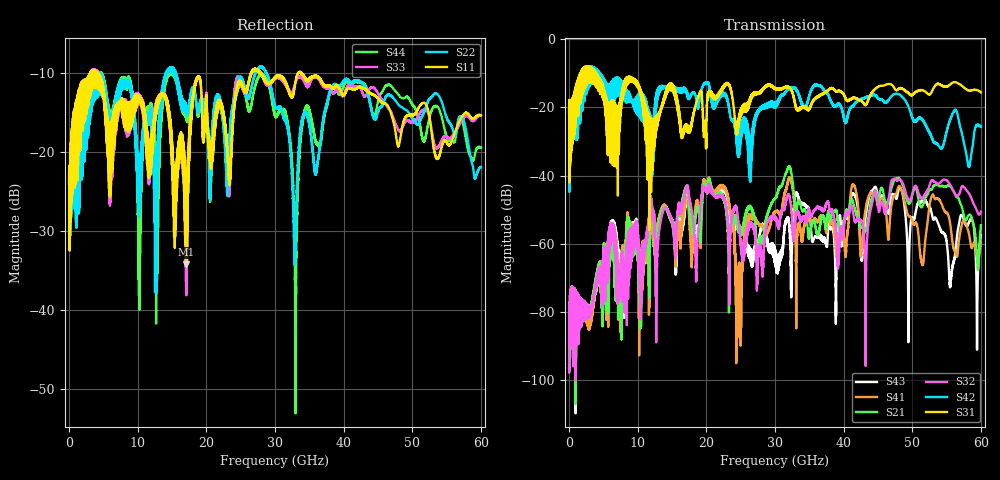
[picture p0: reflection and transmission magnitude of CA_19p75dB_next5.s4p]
!4 port subset of full cascaded channels using these ports:61 37 62 38
# Hz S RI R 50
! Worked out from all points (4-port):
!   6000 points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, 10 MHz to 60 GHz, reference 50 ohm
!   strongest paths, dB at 10 MHz, 15.01 GHz, 30.01 GHz, 45.01 GHz, 60 GHz:
!     S31: -21.8, -13.6, -14.3, -14.0, -15.6
!     S42: -21.9, -14.4, -18.7, -17.3, -25.7
!     S32: -96.7, -52.9, -52.9, -48.8, -50.6
!     S21: -96.5, -53.5, -46.6, -48.0, -54.6
!     S41: -96.3, -53.3, -50.7, -48.9, -59.4
!     S43: -96.5, -52.8, -63.7, -46.3, -57.5
!   lowest |S11| = -34.2 dB at 17.09 GHz (marker M1), VSWR 1.04, Z = 50.7 - j1.82 ohm
!   |S11| at or under -10 dB: 4.198 GHz to 26.51 GHz (22.31 GHz wide, 145 % of centre); 27.96 GHz to 33.36 GHz (5.395 GHz wide, 17.6 % of centre); 33.93 GHz to end of sweep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
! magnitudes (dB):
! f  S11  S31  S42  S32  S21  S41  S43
! 10 MHz  -23.9  -21.8  -21.9  -96.7  -96.5  -96.3  -96.5
! 17.09 GHz  -34.2  -25.0  -15.1  -43.6  -43.3  -47.0  -46.9
! 22.7 GHz  -16.1  -13.7  -16.6  -47.3  -48.1  -44.1  -45.0
! 24.77 GHz  -11.3  -23.4  -30.6  -54.7  -56.7  -71.7  -54.9
! 32.14 GHz  -12.5  -14.4  -14.4  -46.5  -37.5  -40.9  -56.2
! 33.23 GHz  -10.3  -20.9  -15.1  -50.7  -48.9  -57.9  -45.2
! 60 GHz  -15.4  -15.6  -25.7  -50.6  -54.6  -59.4  -57.5
